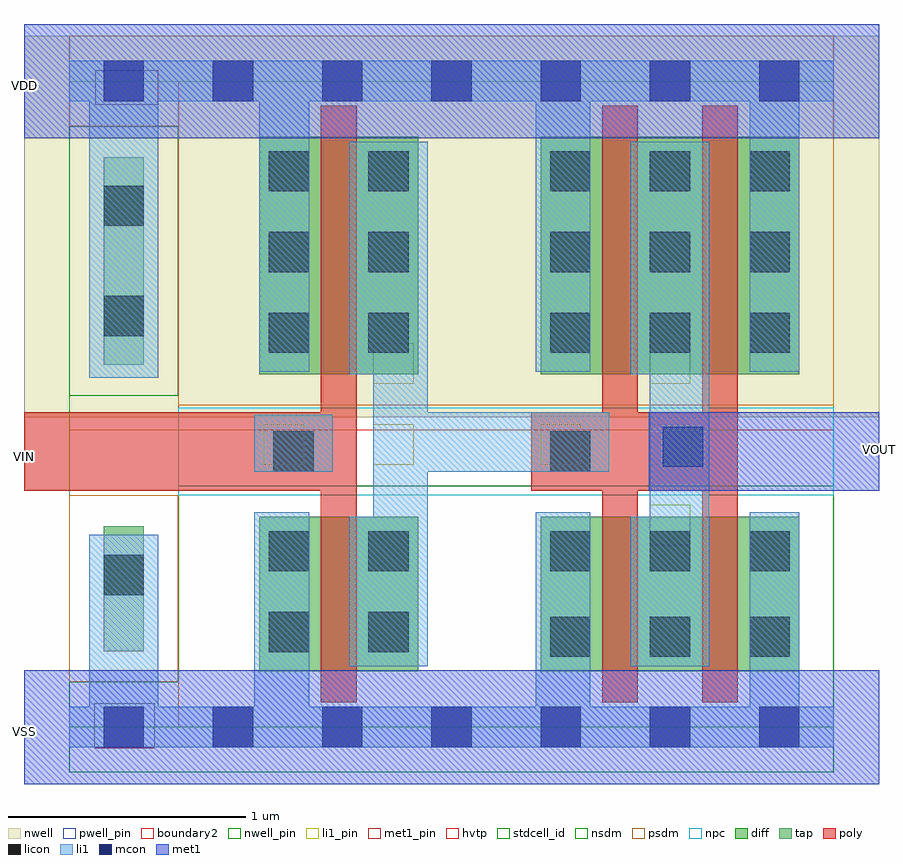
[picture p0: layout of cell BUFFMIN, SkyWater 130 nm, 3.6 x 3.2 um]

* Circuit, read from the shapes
.subckt BUFFMIN VDD VIN VOUT VSS
XM1 sky130_fd_sc_hd__inv_2_0/A VIN VSS VSS sky130_fd_pr__nfet_01v8 w=0.65 l=0.15
XM2 VOUT sky130_fd_sc_hd__inv_2_0/A VSS VSS sky130_fd_pr__nfet_01v8 w=0.65 l=0.15 m=2
XM3 sky130_fd_sc_hd__inv_2_0/A VIN VDD VDD sky130_fd_pr__pfet_01v8_hvt w=1 l=0.15
XM4 VOUT sky130_fd_sc_hd__inv_2_0/A VDD VDD sky130_fd_pr__pfet_01v8_hvt w=1 l=0.15 m=2
.ends

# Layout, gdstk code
import gdstk
lib = gdstk.Library(unit=1e-6, precision=1e-09)
def R(c, l, rs):  # rectangles x0, y0, x1, y1
    for r in rs: c.add(gdstk.rectangle(r[:2], r[2:], *l))
def A(c, l, x, y, w, h, nx, ny, dx, dy):  # array of equal rectangles
    R(c, l, [(x+i*dx, y+j*dy, x+i*dx+w, y+j*dy+h) for i in range(nx) for j in range(ny)])
def P(c, l, *ps):  # polygons
    for p in ps: c.add(gdstk.Polygon(p, *l))
nwell_pin = (64, 16)
nwell = (64, 20)
diff = (65, 20)
tap = (65, 44)
poly = (66, 20)
licon = (66, 44)
li1_pin = (67, 16)
li1 = (67, 20)
mcon = (67, 44)
met1_pin = (68, 16)
met1 = (68, 20)
hvtp = (78, 44)
stdcell_id = (81, 4)
nsdm = (93, 44)
psdm = (94, 20)
npc = (95, 20)
pwell_pin = (122, 16)
boundary2 = (236, 0)

sky130_fd_sc_hd__inv_2 = lib.new_cell('sky130_fd_sc_hd__inv_2')
R(sky130_fd_sc_hd__inv_2, nwell_pin, [(0.145,2.635,0.315,2.805)])
R(sky130_fd_sc_hd__inv_2, nwell, [(-0.19,1.305,1.57,2.91)])
R(sky130_fd_sc_hd__inv_2, diff, [(0.145,0.235,1.235,0.885), (0.145,1.485,1.235,2.485)])
P(sky130_fd_sc_hd__inv_2, poly, [(0.975,2.615),(0.825,2.615),(0.825,1.325),(0.555,1.325),(0.555,2.615),(0.405,2.615),(0.405,1.325),(0.105,1.325),(0.105,0.995),(0.405,0.995),(0.405,0.105),(0.555,0.105),(0.555,0.995),(0.825,0.995),(0.825,0.105),(0.975,0.105)])
A(sky130_fd_sc_hd__inv_2, licon, 0.185, 0.295, 0.17, 0.17, 3, 2, 0.42, 0.36)
A(sky130_fd_sc_hd__inv_2, licon, 0.185, 1.575, 0.17, 0.17, 3, 3, 0.42, 0.34)
R(sky130_fd_sc_hd__inv_2, licon, [(0.185,1.075,0.355,1.245)])
A(sky130_fd_sc_hd__inv_2, li1_pin, 0.605, 0.765, 0.17, 0.17, 1, 3, 0, 0.34)
R(sky130_fd_sc_hd__inv_2, li1_pin, [(0.145,1.105,0.315,1.275)])
R(sky130_fd_sc_hd__inv_2, li1, [(0.105,1.075,0.435,1.325)])
P(sky130_fd_sc_hd__inv_2, li1, [(1.38,2.805),(0,2.805),(0,2.635),(0.125,2.635),(0.125,1.495),(0.355,1.495),(0.355,2.635),(1.025,2.635),(1.025,1.495),(1.235,1.495),(1.235,2.635),(1.38,2.635)],
  [(0.855,2.465),(0.525,2.465),(0.525,1.485),(0.605,1.485),(0.605,0.885),(0.525,0.885),(0.525,0.255),(0.855,0.255)],
  [(1.38,0.085),(1.235,0.085),(1.235,0.905),(1.025,0.905),(1.025,0.085),(0.355,0.085),(0.355,0.905),(0.125,0.905),(0.125,0.085),(0,0.085),(0,-0.085),(1.38,-0.085)])
A(sky130_fd_sc_hd__inv_2, mcon, 0.145, -0.085, 0.17, 0.17, 3, 2, 0.46, 2.72)
R(sky130_fd_sc_hd__inv_2, met1_pin, [(0.145,-0.085,0.315,0.085), (0.145,2.635,0.315,2.805)])
R(sky130_fd_sc_hd__inv_2, hvtp, [(0,1.25,1.38,2.72)])
R(sky130_fd_sc_hd__inv_2, stdcell_id, [(0,0,1.38,2.72)])
R(sky130_fd_sc_hd__inv_2, nsdm, [(0,-0.19,1.38,1.015)])
R(sky130_fd_sc_hd__inv_2, psdm, [(0,1.355,1.38,2.91)])
R(sky130_fd_sc_hd__inv_2, npc, [(0,0.975,1.38,1.345)])
R(sky130_fd_sc_hd__inv_2, pwell_pin, [(0.145,-0.085,0.315,0.085)])
R(sky130_fd_sc_hd__inv_2, boundary2, [(0,0,1.38,2.72)])
sky130_fd_sc_hd__inv_2.add(gdstk.FlexPath([(0,2.72),(1.38,2.72)], 0.48, ends="flush", simple_path=True, layer=68, datatype=20))  # met1
sky130_fd_sc_hd__inv_2.add(gdstk.FlexPath([(0,0),(1.38,0)], 0.48, ends="flush", simple_path=True, layer=68, datatype=20))  # met1
sky130_fd_sc_hd__inv_2.add(gdstk.Label('A', (0.23,1.19), layer=67, texttype=5))
sky130_fd_sc_hd__inv_2.add(gdstk.Label('Y', (0.69,0.85), layer=67, texttype=5))
sky130_fd_sc_hd__inv_2.add(gdstk.Label('Y', (0.69,1.53), layer=67, texttype=5))
sky130_fd_sc_hd__inv_2.add(gdstk.Label('Y', (0.69,1.19), layer=67, texttype=5))
sky130_fd_sc_hd__inv_2.add(gdstk.Label('VPB', (0.23,2.72), layer=64, texttype=5))
sky130_fd_sc_hd__inv_2.add(gdstk.Label('VNB', (0.23,0), layer=64, texttype=59))
sky130_fd_sc_hd__inv_2.add(gdstk.Label('VPWR', (0.23,2.72), layer=68, texttype=5))
sky130_fd_sc_hd__inv_2.add(gdstk.Label('VGND', (0.23,0), layer=68, texttype=5))
sky130_fd_sc_hd__inv_2.add(gdstk.Label('inv_2', (0,0), layer=83, texttype=44))

sky130_fd_sc_hd__inv_1 = lib.new_cell('sky130_fd_sc_hd__inv_1')
R(sky130_fd_sc_hd__inv_1, nwell_pin, [(0.145,2.635,0.315,2.805), (0.145,2.635,0.315,2.805)])
R(sky130_fd_sc_hd__inv_1, nwell, [(-0.19,1.305,1.57,2.91)])
R(sky130_fd_sc_hd__inv_1, diff, [(0.34,0.235,1.01,0.885), (0.34,1.485,1.01,2.485)])
P(sky130_fd_sc_hd__inv_1, poly, [(0.75,2.615),(0.6,2.615),(0.6,1.325),(0.32,1.325),(0.32,0.995),(0.6,0.995),(0.6,0.105),(0.75,0.105)])
A(sky130_fd_sc_hd__inv_1, licon, 0.38, 1.575, 0.17, 0.17, 1, 3, 0, 0.34)
A(sky130_fd_sc_hd__inv_1, licon, 0.8, 1.575, 0.17, 0.17, 1, 3, 0, 0.34)
R(sky130_fd_sc_hd__inv_1, licon, [(0.38,0.315,0.55,0.485), (0.8,0.315,0.97,0.485), (0.38,0.655,0.55,0.825), (0.8,0.655,0.97,0.825), (0.4,1.075,0.57,1.245)])
R(sky130_fd_sc_hd__inv_1, li1_pin, [(0.36,1.105,0.53,1.275), (0.82,1.105,0.99,1.275), (0.82,1.445,0.99,1.615)])
R(sky130_fd_sc_hd__inv_1, li1, [(0,-0.085,1.38,0.085), (0.32,0.005,0.55,0.905), (0.32,1.075,0.65,1.315), (0.34,1.495,0.55,2.675), (0,2.635,1.38,2.805)])
P(sky130_fd_sc_hd__inv_1, li1, [(1.05,2.465),(0.72,2.465),(0.72,1.485),(0.82,1.485),(0.82,0.885),(0.72,0.885),(0.72,0.255),(1.05,0.255)])
A(sky130_fd_sc_hd__inv_1, mcon, 0.145, -0.085, 0.17, 0.17, 3, 2, 0.46, 2.72)
R(sky130_fd_sc_hd__inv_1, met1_pin, [(0.145,-0.085,0.315,0.085), (0.145,-0.085,0.315,0.085), (0.145,2.635,0.315,2.805), (0.145,2.635,0.315,2.805)])
R(sky130_fd_sc_hd__inv_1, hvtp, [(0,1.25,1.38,2.72)])
R(sky130_fd_sc_hd__inv_1, stdcell_id, [(0,0,1.38,2.72)])
R(sky130_fd_sc_hd__inv_1, nsdm, [(0,-0.19,1.38,1.015)])
R(sky130_fd_sc_hd__inv_1, psdm, [(0,1.355,1.38,2.91)])
R(sky130_fd_sc_hd__inv_1, npc, [(0,0.975,1.38,1.345)])
R(sky130_fd_sc_hd__inv_1, pwell_pin, [(0.145,-0.085,0.315,0.085), (0.145,-0.085,0.315,0.085)])
R(sky130_fd_sc_hd__inv_1, boundary2, [(0,0,1.38,2.72)])
sky130_fd_sc_hd__inv_1.add(gdstk.FlexPath([(0,2.72),(1.38,2.72)], 0.48, ends="flush", simple_path=True, layer=68, datatype=20))  # met1
sky130_fd_sc_hd__inv_1.add(gdstk.FlexPath([(0,0),(1.38,0)], 0.48, ends="flush", simple_path=True, layer=68, datatype=20))  # met1
sky130_fd_sc_hd__inv_1.add(gdstk.Label('Y', (0.905,1.53), layer=67, texttype=5))
sky130_fd_sc_hd__inv_1.add(gdstk.Label('Y', (0.905,1.19), layer=67, texttype=5))
sky130_fd_sc_hd__inv_1.add(gdstk.Label('A', (0.445,1.19), layer=67, texttype=5))
sky130_fd_sc_hd__inv_1.add(gdstk.Label('VPB', (0.23,2.72), layer=64, texttype=5))
sky130_fd_sc_hd__inv_1.add(gdstk.Label('VNB', (0.23,0), layer=64, texttype=59))
sky130_fd_sc_hd__inv_1.add(gdstk.Label('VGND', (0.23,0), layer=68, texttype=5))
sky130_fd_sc_hd__inv_1.add(gdstk.Label('VPWR', (0.23,2.72), layer=68, texttype=5))
sky130_fd_sc_hd__inv_1.add(gdstk.Label('inv_1', (0,0), layer=83, texttype=44))

sky130_fd_sc_hd__tapvpwr = lib.new_cell('sky130_fd_sc_hd__tapvpwrvgnd_1')
R(sky130_fd_sc_hd__tapvpwr, nwell, [(-0.19,1.305,0.65,2.91)])
R(sky130_fd_sc_hd__tapvpwr, tap, [(0.145,0.32,0.315,0.845), (0.145,1.525,0.315,2.4)])
R(sky130_fd_sc_hd__tapvpwr, licon, [(0.145,0.555,0.315,0.725), (0.145,1.645,0.315,1.815), (0.145,2.11,0.315,2.28)])
R(sky130_fd_sc_hd__tapvpwr, li1, [(0,-0.085,0.46,0.085), (0.085,0,0.375,0.81), (0.085,1.47,0.375,2.72), (0,2.635,0.46,2.805)])
R(sky130_fd_sc_hd__tapvpwr, mcon, [(0.145,-0.085,0.315,0.085), (0.145,2.635,0.315,2.805)])
R(sky130_fd_sc_hd__tapvpwr, met1_pin, [(0.105,-0.09,0.36,0.1), (0.11,2.62,0.375,2.765)])
R(sky130_fd_sc_hd__tapvpwr, met1, [(0,-0.24,0.46,0.24), (0,2.48,0.46,2.96)])
R(sky130_fd_sc_hd__tapvpwr, hvtp, [(0,1.25,0.46,2.72)])
R(sky130_fd_sc_hd__tapvpwr, stdcell_id, [(0,0,0.46,2.72)])
R(sky130_fd_sc_hd__tapvpwr, nsdm, [(0,-0.19,0.46,0.19), (0,1.395,0.46,2.53)])
R(sky130_fd_sc_hd__tapvpwr, psdm, [(0,0.19,0.46,0.975), (0,2.53,0.46,2.91)])
sky130_fd_sc_hd__tapvpwr.add(gdstk.Label('VPWR', (0.23,2.72), layer=68, texttype=5))
sky130_fd_sc_hd__tapvpwr.add(gdstk.Label('VGND', (0.23,0), layer=68, texttype=5))
sky130_fd_sc_hd__tapvpwr.add(gdstk.Label('tapvpwrvgnd_1', (0,0), layer=83, texttype=44))

buffmin = lib.new_cell('BUFFMIN')
R(buffmin, poly, [(-0.38,0.995,0.59,1.325)])
R(buffmin, li1, [(1.09,1.075,2.08,1.325), (2.31,1.095,2.48,1.265)])
R(buffmin, mcon, [(2.31,1.095,2.48,1.265)])
R(buffmin, met1, [(-0.38,-0.24,3.22,0.24), (2.25,0.995,3.22,1.325), (-0.38,2.48,3.22,2.96)])
R(buffmin, nsdm, [(1.405,0.11,1.67,1.01)])
R(buffmin, psdm, [(1.405,1.36,1.67,2.61)])
buffmin.add(gdstk.Reference(sky130_fd_sc_hd__inv_2, (1.65,0)))
buffmin.add(gdstk.Reference(sky130_fd_sc_hd__inv_1, (0.27,0)))
buffmin.add(gdstk.Reference(sky130_fd_sc_hd__tapvpwr, (-0.19,0)))
buffmin.add(gdstk.Label('VIN', (-0.38,1.14), layer=66, texttype=5))
buffmin.add(gdstk.Label('VOUT', (3.22,1.17), layer=68, texttype=5))
buffmin.add(gdstk.Label('VSS', (-0.38,-0.02), layer=68, texttype=5))
buffmin.add(gdstk.Label('VDD', (-0.38,2.7), layer=68, texttype=5))

lib.write_gds('BUFFMIN.gds')
